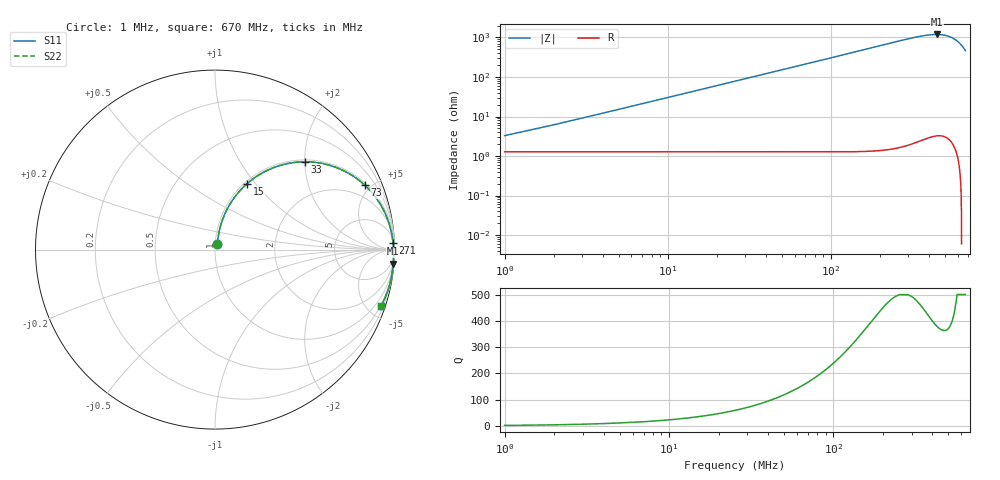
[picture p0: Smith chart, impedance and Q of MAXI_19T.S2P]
! Coilcraft 132-19SM_ Maxi Spring Air Core Inductor
! 28 May 2003
# MHZ S MA R 50
!Freq  MagS11  AngS11  MagS21  AngS21  MagS12  AngS12  MagS22  AngS22
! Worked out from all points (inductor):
!   670 points, 1 MHz to 670 MHz, reference 50 ohm
!   read as one part in series: L = 480 nH near 4 MHz
!   highest |Z| = 1.19 kohm at 446 MHz (marker M1)
!   S11 on the Smith chart (normalised r, x): 1 MHz: 1.03, +0.06; 15 MHz: 1.03, +0.90; 33 MHz: 1.04, +2.00; 73 MHz: 1.12, +4.60; 271 MHz: 9, +49; 670 MHz: 0.43, -5.98
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1  0.03221 65.3  0.987 -1.7  0.987 -1.7  0.03221 65.3
3  0.08951 76.8  0.9835 -5.1  0.9835 -5.1  0.08953 76.8
5  0.1472 76.6  0.9767 -8.5  0.9767 -8.5  0.1472 76.6
7  0.2037 74.7  0.9668 -11.8  0.9668 -11.8  0.2037 74.7
10  0.2846 70.9  0.9466 -16.7  0.9466 -16.7  0.2847 70.9
15  0.4067 64.2  0.9021 -24.2  0.9021 -24.2  0.4068 64.2
23  0.5638 54.3  0.8156 -34.7  0.8156 -34.7  0.5639 54.3
33  0.6998 44.4  0.7053 -44.9  0.7053 -44.9  0.7 44.4
42  0.7802 37.5  0.6176 -51.9  0.6176 -51.9  0.7804 37.5
51  0.8347 32.2  0.5437 -57.4  0.5437 -57.4  0.8349 32.2
73  0.9084 23.3  0.4126 -66.4  0.4126 -66.4  0.9087 23.3
113  0.9589 14.5  0.2798 -75.3  0.2798 -75.3  0.9591 14.5
163  0.9799 8.8  0.1965 -81.1  0.1965 -81.1  0.9801 8.8
224  0.9893 4.6  0.143 -85.3  0.143 -85.3  0.9895 4.6
271  0.9926 2.3  0.1183 -87.6  0.1183 -87.6  0.9928 2.3
336  0.9949 -0.4  0.09702 -90.3  0.09702 -90.3  0.9951 -0.4
446  0.996 -4.5  0.08366 -94.4  0.08366 -94.4  0.9962 -4.5
447  0.996 -4.5  0.08365 -94.4  0.08365 -94.4  0.9962 -4.5
505  0.9955 -6.9  0.08788 -96.7  0.08788 -96.7  0.9957 -6.9
559  0.994 -9.5  0.102 -99.4  0.102 -99.4  0.9942 -9.5
616  0.9897 -13.2  0.1356 -103.1  0.1356 -103.1  0.9899 -13.2
670  0.9768 -18.9  0.2065 -109.0  0.2065 -109.0  0.977 -18.9
